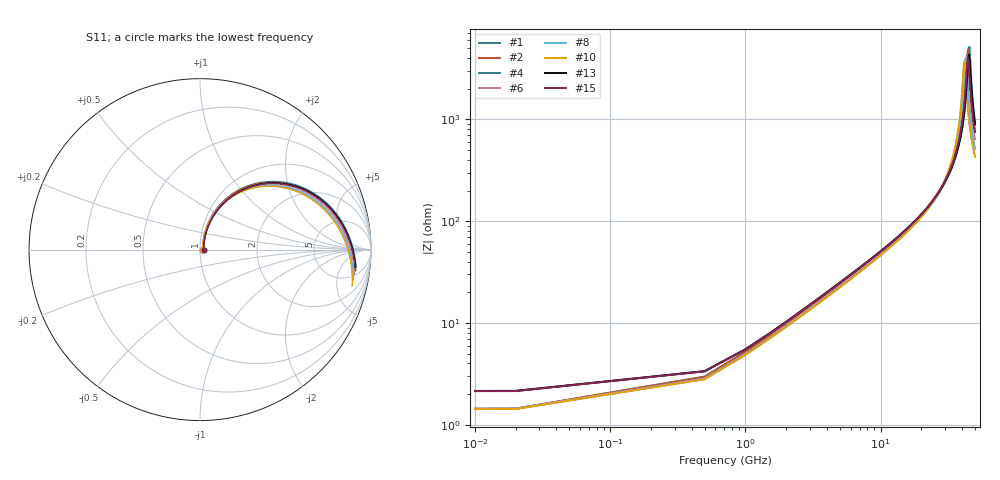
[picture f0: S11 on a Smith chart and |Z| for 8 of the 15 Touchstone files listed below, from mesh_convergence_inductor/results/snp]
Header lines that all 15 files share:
! Created with skrf 2.2.0 (http://scikit-rf.org).
# GHz S DB R 50.0
! Port[1] = P1
! Port[2] = P2
!freq dBS11 angS11 dBS21 angS21 dBS12 angS12 dBS22 angS22
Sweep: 10 MHz to 50 GHz
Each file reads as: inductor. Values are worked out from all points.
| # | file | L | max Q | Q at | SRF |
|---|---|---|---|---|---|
| 1 | ind_frame_amr2_final.s2p | 780 pH | 18.9 | 16.5 GHz | 45 GHz |
| 2 | ind_frame_amr2_iter1.s2p | 768 pH | 18 | 16 GHz | 44 GHz |
| 3 | ind_frame_amr2_iter2.s2p | 777 pH | 18.5 | 16.5 GHz | 44.5 GHz |
| 4 | ind_frame_filled_mesh2.s2p | 791 pH | 13.5 | 18.5 GHz | 45 GHz |
| 5 | ind_frame_mesh1.s2p | 779 pH | 19 | 16.5 GHz | 45 GHz |
| 6 | ind_frame_mesh1_order1.s2p | 734 pH | 17.3 | 16 GHz | 43.5 GHz |
| 7 | ind_frame_mesh2.s2p | 778 pH | 18.7 | 16.5 GHz | 45 GHz |
| 8 | ind_frame_mesh2_order1.s2p | 721 pH | 16.5 | 15.5 GHz | 42.5 GHz |
| 9 | ind_frame_mesh3.s2p | 777 pH | 18.5 | 16 GHz | 44.5 GHz |
| 10 | ind_frame_mesh3_order1.s2p | 711 pH | 15.9 | 15 GHz | 41.5 GHz |
| 11 | ind_frame_mesh5.s2p | 768 pH | 18 | 16 GHz | 44 GHz |
| 12 | ind_frame_skin_mesh1.s2p | 792 pH | 14.4 | 19 GHz | 45 GHz |
| 13 | ind_frame_skin_mesh2.s2p | 791 pH | 14.1 | 19 GHz | 45 GHz |
| 14 | ind_frame_skin_mesh3.s2p | 789 pH | 14 | 19 GHz | 44.5 GHz |
| 15 | ind_frame_skin_mesh5.s2p | 785 pH | 13.7 | 19 GHz | 44 GHz |
